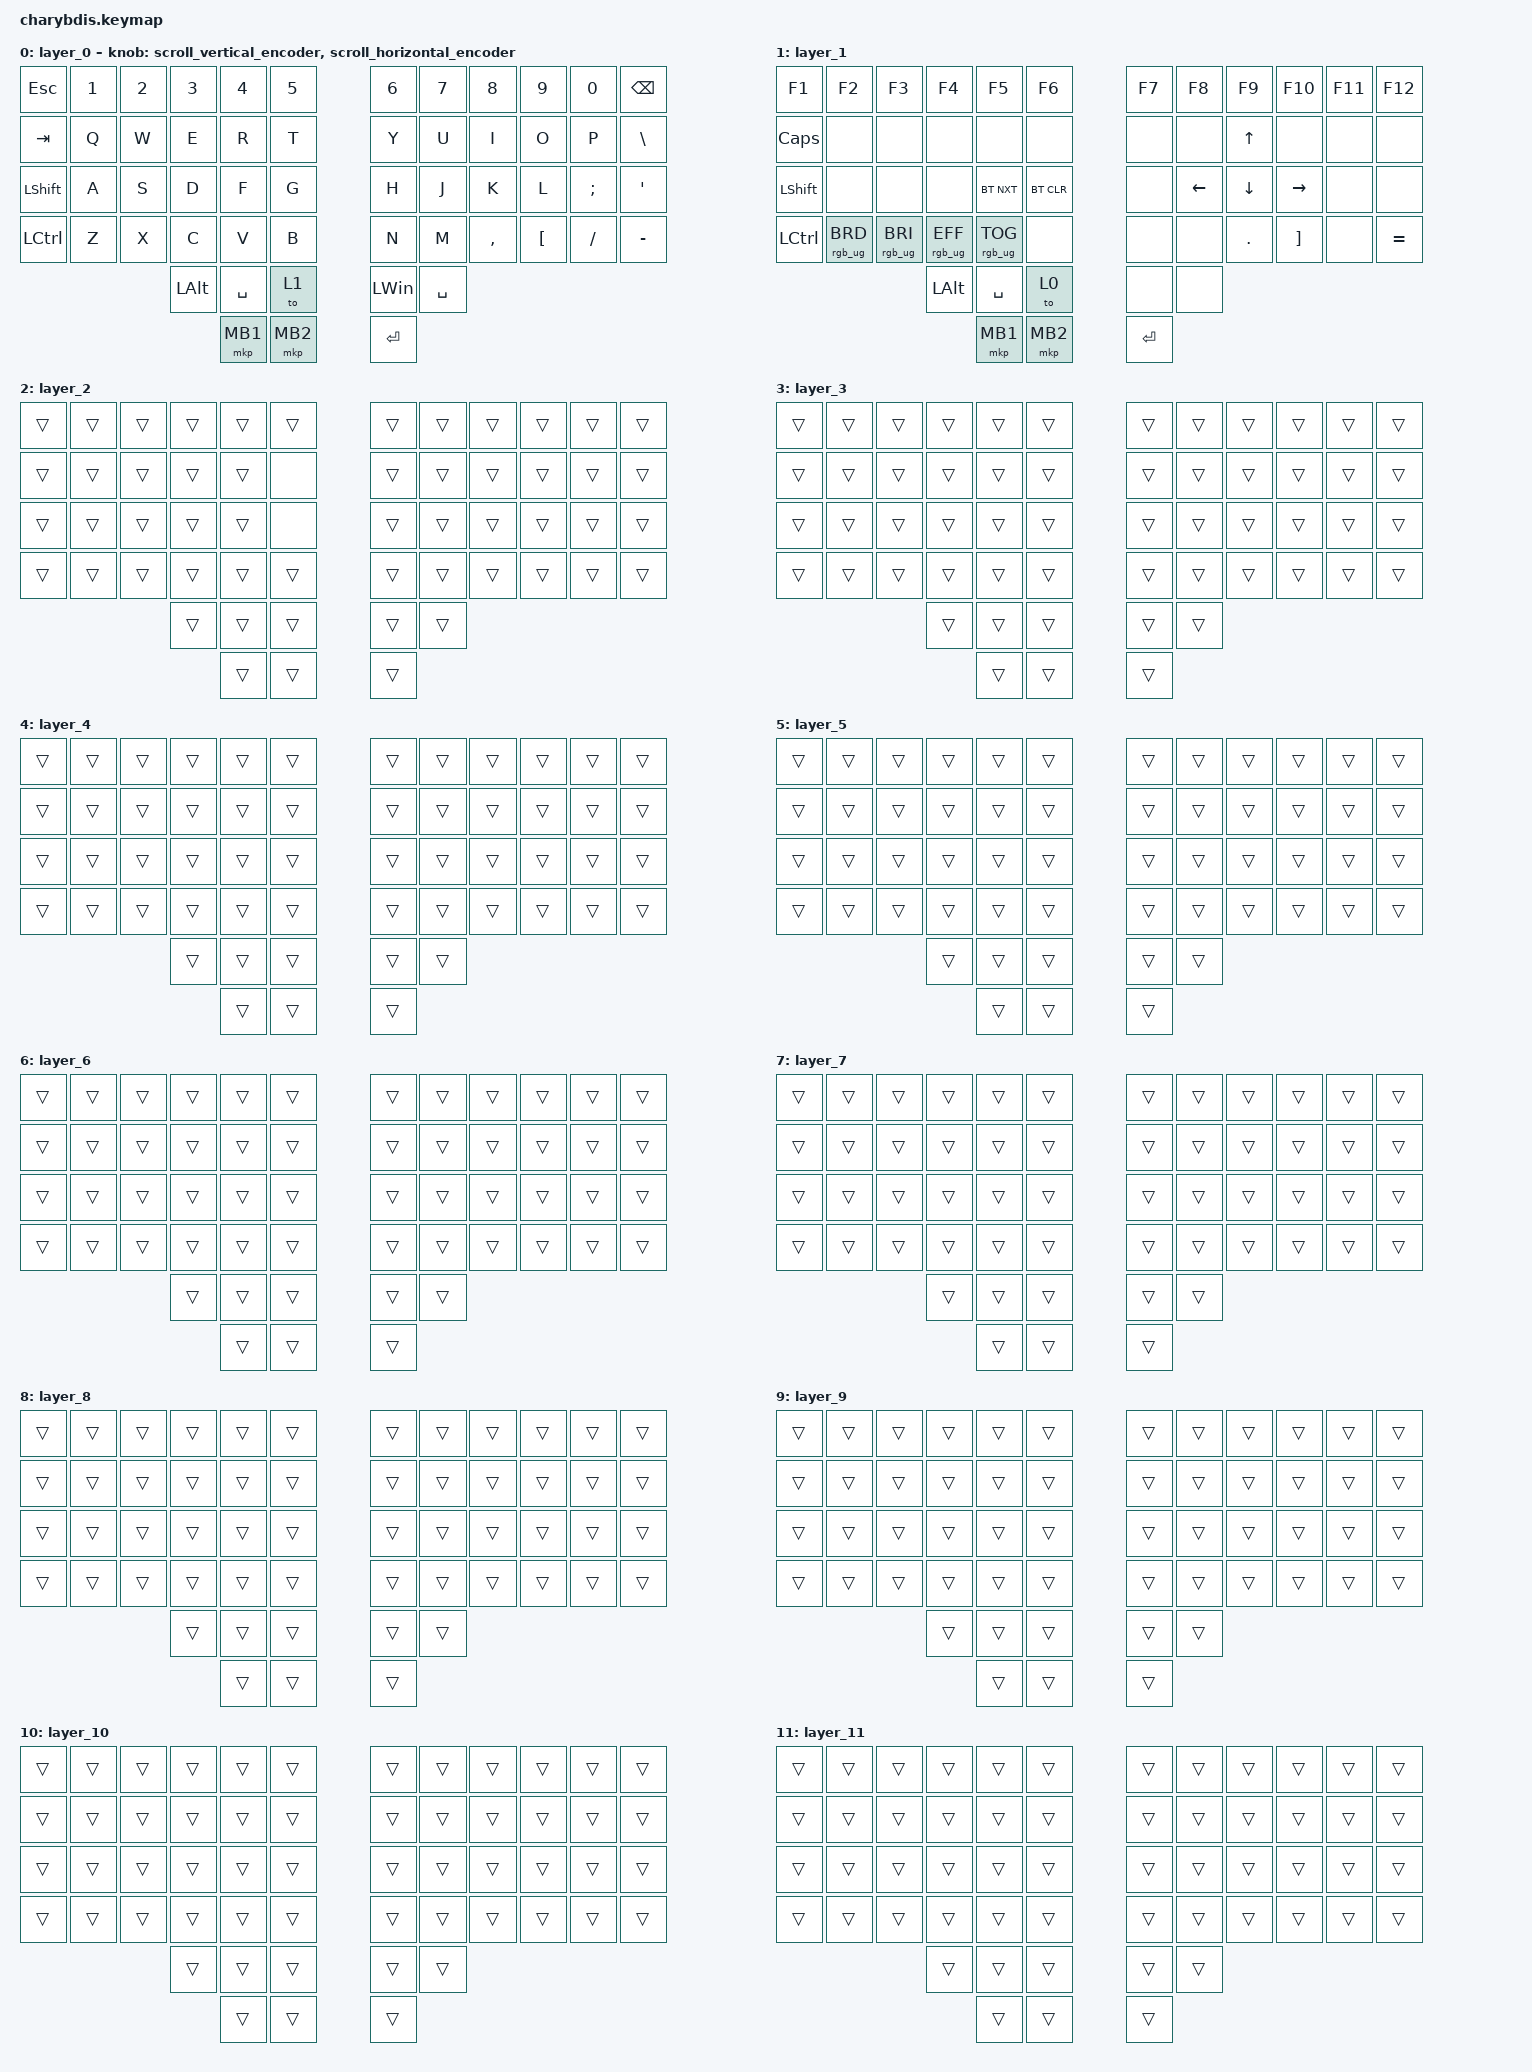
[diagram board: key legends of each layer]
#include <dt-bindings/zmk/mouse.h>
#include <input/processors.dtsi>
#include <zephyr/dt-bindings/input/input-event-codes.h>
#include <behaviors.dtsi>
#include <dt-bindings/zmk/bt.h>
#include <dt-bindings/zmk/keys.h>
#include <dt-bindings/zmk/pointing.h>
#include <dt-bindings/zmk/rgb.h>

#define ZMK_POINTING_DEFAULT_MOVE_VAL 1000 // 600
#define ZMK_POINTING_DEFAULT_SCRL_VAL 12   // 10

&lt {
    tapping-term-ms = <200>;
    flavor = "balanced";
    quick-tap-ms = <150>;
};

/ {
    jump_accel: jump_accel {
        compatible = "zmk,input-processor-jump-accel";
        #input-processor-cells = <0>;
        base-factor = <1000>;
        fast-factor = <4000>;
        jump-start-cps = <1700>;
        jump-width-cps = <1400>;
        // Slightly earlier medium ramp; 4x ceiling for long fast strokes.
        curve-type = "smootherstep";
        track-remainders;
    };

    // Deliberately extreme scroll curve: keep precision motion slow, then make
    // fast sweeps unmistakable. The scroller applies this before wheel mapping;
    // its downstream 3/20 scaler still limits low-speed output.
    scroll_accel: scroll_accel {
        compatible = "zmk,input-processor-jump-accel";
        #input-processor-cells = <0>;
        base-factor = <100>;
        fast-factor = <16000>;
        jump-start-cps = <250>;
        jump-width-cps = <1750>;
        curve-type = "exponential";
        track-remainders;
    };
};

// Pointer speed modes are KEY behaviors, never layer-linked CPI switching.
// The old PMW3610 snipe-layers mechanism (8x CPI jump while a layer was held)
// was removed together with the inorichi/DoctorWangWang driver.
//
// All modes run through zip_ball_mode (gggw zmk-input-processor-pipeline-
// switch), wired onto &trackball_listener in charybdis_right.overlay (which
// exists on the right/central half only, so these keys only have an effect
// when placed on right-half positions). The macros below select a pipeline
// deterministically; the hold variants press a mode and restore cursor on
// release (same macro pattern as the coach layer holds). persist=0 for the
// hold transitions (no flash writes), persist=1 for the explicit set keys.
// Behavior node names must stay <= 8 chars (split relay truncation).
//
// Pointer mode and tuning controls are intentionally not bound in firmware.
// ZMK Studio can assign them temporarily; tuning macros are experimental.

/ {
    zip_ball_mode: zip_ball_mode {
        compatible = "zmk,input-processor-pipeline-switch";
        #input-processor-cells = <0>;
        // Start in normal cursor mode on every boot. Persisting Snipe Mode
        // can leave the pointer at 0.25x after its Studio binding moves away.

        cursor { // index 0: identity
            input-processors = <&zip_xy_scaler 1 1>;
        };
        snipe { // index 1: 0.25x precision
            input-processors = <&zip_xy_scaler 1 4>;
        };
        fast { // index 2: 3x boost
            input-processors = <&zip_xy_scaler 3 1>;
        };
    };

    bmode: bmode {
        compatible = "zmk,behavior-pipeline-switch";
        #binding-cells = <2>;
        processor = <&zip_ball_mode>;
        display-name = "Ball Mode";
    };

    // Temporary ZMK Studio controls for live, volatile acceleration tuning.
    // Assign during a test session; values reset to these DT defaults on boot.
    btune: btune {
        compatible = "zmk,behavior-trackball-tune";
        #binding-cells = <1>;
        processor = <&jump_accel>;
        display-name = "Trackball Tune";
    };

#define TRACKBALL_TUNE_MACRO(node, label, action)                                                  \
    node: node {                                                                                   \
        compatible = "zmk,behavior-macro";                                                        \
        display-name = label;                                                                      \
        #binding-cells = <0>;                                                                      \
        wait-ms = <5>;                                                                             \
        tap-ms = <5>;                                                                              \
        bindings = <&macro_tap &btune action>;                                                     \
    };

    TRACKBALL_TUNE_MACRO(tb_bdn, "Trackball base −0.1x", 0)
    TRACKBALL_TUNE_MACRO(tb_bup, "Trackball base +0.1x", 1)
    TRACKBALL_TUNE_MACRO(tb_fdn, "Trackball fast −0.1x", 2)
    TRACKBALL_TUNE_MACRO(tb_fup, "Trackball fast +0.1x", 3)
    TRACKBALL_TUNE_MACRO(tb_sdn, "Trackball ramp start −100", 4)
    TRACKBALL_TUNE_MACRO(tb_sup, "Trackball ramp start +100", 5)
    TRACKBALL_TUNE_MACRO(tb_wdn, "Trackball ramp width −100", 6)
    TRACKBALL_TUNE_MACRO(tb_wup, "Trackball ramp width +100", 7)
    TRACKBALL_TUNE_MACRO(tb_vdn, "Trackball window −4ms", 8)
    TRACKBALL_TUNE_MACRO(tb_vup, "Trackball window +4ms", 9)
    TRACKBALL_TUNE_MACRO(tb_pdn, "Trackball speed filter −4ms", 10)
    TRACKBALL_TUNE_MACRO(tb_pup, "Trackball speed filter +4ms", 11)
    TRACKBALL_TUNE_MACRO(tb_gdn, "Trackball gain filter −4ms", 12)
    TRACKBALL_TUNE_MACRO(tb_gup, "Trackball gain filter +4ms", 13)
    TRACKBALL_TUNE_MACRO(tb_dwn, "Trackball travel window −8ms", 14)
    TRACKBALL_TUNE_MACRO(tb_dup, "Trackball travel window +8ms", 15)
    TRACKBALL_TUNE_MACRO(tb_mdn, "Trackball travel start −16", 16)
    TRACKBALL_TUNE_MACRO(tb_mup, "Trackball travel start +16", 17)
    TRACKBALL_TUNE_MACRO(tb_mwd, "Trackball travel ramp −16", 18)
    TRACKBALL_TUNE_MACRO(tb_mwu, "Trackball travel ramp +16", 19)
    TRACKBALL_TUNE_MACRO(tb_rst, "Trackball reset tuning", 20)

#undef TRACKBALL_TUNE_MACRO

    snp_hold: snp_hold {
        compatible = "zmk,behavior-macro";
        display-name = "Snipe Hold";
        #binding-cells = <0>;
        wait-ms = <5>;
        tap-ms = <5>;
        bindings =
            <&macro_press &bmode 1 0>,
            <&macro_pause_for_release>,
            <&macro_tap &bmode 0 0>;
    };

    fst_hold: fst_hold {
        compatible = "zmk,behavior-macro";
        display-name = "Fast Hold";
        #binding-cells = <0>;
        wait-ms = <5>;
        tap-ms = <5>;
        bindings =
            <&macro_press &bmode 2 0>,
            <&macro_pause_for_release>,
            <&macro_tap &bmode 0 0>;
    };

    snp_tog: snp_tog {
        compatible = "zmk,behavior-macro";
        display-name = "Snipe Mode";
        #binding-cells = <0>;
        wait-ms = <5>;
        tap-ms = <5>;
        bindings = <&macro_tap &bmode 1 0>;
    };

    nrm_tog: nrm_tog {
        compatible = "zmk,behavior-macro";
        display-name = "Normal Mode";
        #binding-cells = <0>;
        wait-ms = <5>;
        tap-ms = <5>;
        bindings = <&macro_tap &bmode 0 0>;
    };

    fst_tog: fst_tog {
        compatible = "zmk,behavior-macro";
        display-name = "Fast Mode";
        #binding-cells = <0>;
        wait-ms = <5>;
        tap-ms = <5>;
        bindings = <&macro_tap &bmode 2 0>;
    };
};

// zip_xy_scaler here only affects the (currently unused) &mmv "move mouse via
// key hold" virtual behavior below -- unrelated to the physical trackball.
&mmv_input_listener { input-processors = <&zip_xy_scaler 1 5>; };

&msc_input_listener { input-processors = <&zip_scroll_scaler 2 1>; };

&msc {
    acceleration-exponent = <0>;      // 0
    time-to-max-speed-ms = <100>;       // 300
    delay-ms = <0>;                   // 0
};

&mmv {
    time-to-max-speed-ms = <500>;
    acceleration-exponent = <1>;
    trigger-period-ms = <16>;
};

/ {
    #include "coach_beacon_macros.keymap.dtsi"

    // 上下滚动编码器行为

    scroll_vertical_encoder: scroll_vertical_encoder {
        compatible = "zmk,behavior-sensor-rotate";
        #sensor-binding-cells = <0>;
        bindings = <&msc SCRL_DOWN>, <&msc SCRL_UP>;

        tap-ms = <100>;
    };

    // 左右滚动编码器行为

    scroll_horizontal_encoder: scroll_horizontal_encoder {
        compatible = "zmk,behavior-sensor-rotate";
        #sensor-binding-cells = <0>;
        bindings = <&msc SCRL_LEFT>, <&msc SCRL_RIGHT>;

        tap-ms = <100>;
    };

    behaviors {
    };

    macros {
        To1_macro: To1_macro {
            compatible = "zmk,behavior-macro";
            label = "To1_macro";
            #binding-cells = <0>;
            bindings = <&rgb_ug RGB_EFF &rgb_ug RGB_COLOR_HSB(128,100,50) &to 1>;
        };

        To1_macro_A: To1_macro_A {
            compatible = "zmk,behavior-macro";
            label = "To1_macro_A";
            #binding-cells = <0>;
            bindings = <&rgb_ug RGB_COLOR_HSB(128,100,50) &to 1>;
        };

        To0_macro: To0_macro {
            compatible = "zmk,behavior-macro";
            label = "To0_macro";
            #binding-cells = <0>;
            bindings = <&rgb_ug RGB_EFR &to 0>;
        };

        To2_macro_A: To2_macro_A {
            compatible = "zmk,behavior-macro";
            label = "To2_macro_A";
            #binding-cells = <0>;
            bindings = <&rgb_ug RGB_COLOR_HSB(250,100,50) &to 2>;
        };

        To2_macro: To2_macro {
            compatible = "zmk,behavior-macro";
            label = "To2_macro";
            #binding-cells = <0>;
            bindings = <&rgb_ug RGB_EFF &rgb_ug RGB_COLOR_HSB(250,100,50) &to 2>;
        };
    };

    keymap {
        compatible = "zmk,keymap";

        layer_0 {
            bindings = <
&kp ESC         &kp N1  &kp N2  &kp N3        &kp N4     &kp N5      &kp N6     &kp N7     &kp N8     &kp N9            &kp N0    &kp BACKSPACE
&kp TAB         &kp Q   &kp W   &kp E         &kp R      &kp T       &kp Y      &kp U      &kp I      &kp O             &kp P     &kp BSLH
&kp LEFT_SHIFT  &kp A   &kp S   &kp D         &kp F      &kp G       &kp H      &kp J      &kp K      &kp L             &kp SEMI  &kp SQT
&kp LCTRL       &kp Z   &kp X   &kp C         &kp V      &kp B       &kp N      &kp M      &kp COMMA  &kp LEFT_BRACKET  &kp FSLH  &kp MINUS
                                &kp LEFT_ALT  &kp SPACE  &to 1       &kp LWIN   &kp SPACE
                                              &mkp MB1   &mkp MB2    &kp ENTER
            >;

            sensor-bindings =
                <&scroll_vertical_encoder>,
                // 编码器1：上下滚动,,
                <&scroll_horizontal_encoder>;

            // 编码器2：左右滚动
        };

        layer_1 {
            bindings = <
&kp F1          &kp F2           &kp F3           &kp F4           &kp F5           &kp F6        &kp F7     &kp F8    &kp F9      &kp F10            &kp F11  &kp F12
&kp CAPS        &none            &none            &none            &none            &none         &none      &none     &kp UP      &none              &none    &none
&kp LEFT_SHIFT  &none            &none            &none            &bt BT_NXT       &bt BT_CLR    &none      &kp LEFT  &kp DOWN    &kp RIGHT          &none    &none
&kp LCTRL       &rgb_ug RGB_BRD  &rgb_ug RGB_BRI  &rgb_ug RGB_EFF  &rgb_ug RGB_TOG  &none         &none      &none     &kp PERIOD  &kp RIGHT_BRACKET  &none    &kp EQUAL
                                                  &kp LEFT_ALT     &kp SPACE        &to 0         &none      &none
                                                                   &mkp MB1         &mkp MB2      &kp ENTER
            >;
        };

        layer_2 {
            bindings = <
&trans  &trans  &trans  &trans  &trans  &trans    &trans  &trans  &trans  &trans  &trans  &trans
&trans  &trans  &trans  &trans  &trans  &none     &trans  &trans  &trans  &trans  &trans  &trans
&trans  &trans  &trans  &trans  &trans  &none     &trans  &trans  &trans  &trans  &trans  &trans
&trans  &trans  &trans  &trans  &trans  &trans    &trans  &trans  &trans  &trans  &trans  &trans
                        &trans  &trans  &trans    &trans  &trans
                                &trans  &trans    &trans
            >;
        };

        layer_3 {
            bindings = <
&trans  &trans  &trans  &trans  &trans  &trans    &trans  &trans  &trans  &trans  &trans  &trans
&trans  &trans  &trans  &trans  &trans  &trans    &trans  &trans  &trans  &trans  &trans  &trans
&trans  &trans  &trans  &trans  &trans  &trans    &trans  &trans  &trans  &trans  &trans  &trans
&trans  &trans  &trans  &trans  &trans  &trans    &trans  &trans  &trans  &trans  &trans  &trans
                        &trans  &trans  &trans    &trans  &trans
                                &trans  &trans    &trans
            >;
        };

        layer_4 {
            bindings = <
&trans  &trans  &trans  &trans  &trans  &trans    &trans  &trans  &trans  &trans  &trans  &trans
&trans  &trans  &trans  &trans  &trans  &trans    &trans  &trans  &trans  &trans  &trans  &trans
&trans  &trans  &trans  &trans  &trans  &trans    &trans  &trans  &trans  &trans  &trans  &trans
&trans  &trans  &trans  &trans  &trans  &trans    &trans  &trans  &trans  &trans  &trans  &trans
                        &trans  &trans  &trans    &trans  &trans
                                &trans  &trans    &trans
            >;
        };

        layer_5 {
            bindings = <
&trans  &trans  &trans  &trans  &trans  &trans    &trans  &trans  &trans  &trans  &trans  &trans
&trans  &trans  &trans  &trans  &trans  &trans    &trans  &trans  &trans  &trans  &trans  &trans
&trans  &trans  &trans  &trans  &trans  &trans    &trans  &trans  &trans  &trans  &trans  &trans
&trans  &trans  &trans  &trans  &trans  &trans    &trans  &trans  &trans  &trans  &trans  &trans
                        &trans  &trans  &trans    &trans  &trans
                                &trans  &trans    &trans
            >;
        };

        layer_6 {
            bindings = <
&trans  &trans  &trans  &trans  &trans  &trans    &trans  &trans  &trans  &trans  &trans  &trans
&trans  &trans  &trans  &trans  &trans  &trans    &trans  &trans  &trans  &trans  &trans  &trans
&trans  &trans  &trans  &trans  &trans  &trans    &trans  &trans  &trans  &trans  &trans  &trans
&trans  &trans  &trans  &trans  &trans  &trans    &trans  &trans  &trans  &trans  &trans  &trans
                        &trans  &trans  &trans    &trans  &trans
                                &trans  &trans    &trans
            >;
        };

        layer_7 {
            bindings = <
&trans  &trans  &trans  &trans  &trans  &trans    &trans  &trans  &trans  &trans  &trans  &trans
&trans  &trans  &trans  &trans  &trans  &trans    &trans  &trans  &trans  &trans  &trans  &trans
&trans  &trans  &trans  &trans  &trans  &trans    &trans  &trans  &trans  &trans  &trans  &trans
&trans  &trans  &trans  &trans  &trans  &trans    &trans  &trans  &trans  &trans  &trans  &trans
                        &trans  &trans  &trans    &trans  &trans
                                &trans  &trans    &trans
            >;
        };

        layer_8 {
            bindings = <
&trans  &trans  &trans  &trans  &trans  &trans    &trans  &trans  &trans  &trans  &trans  &trans
&trans  &trans  &trans  &trans  &trans  &trans    &trans  &trans  &trans  &trans  &trans  &trans
&trans  &trans  &trans  &trans  &trans  &trans    &trans  &trans  &trans  &trans  &trans  &trans
&trans  &trans  &trans  &trans  &trans  &trans    &trans  &trans  &trans  &trans  &trans  &trans
                        &trans  &trans  &trans    &trans  &trans
                                &trans  &trans    &trans
            >;
        };

        layer_9 {
            bindings = <
&trans  &trans  &trans  &trans  &trans  &trans    &trans  &trans  &trans  &trans  &trans  &trans
&trans  &trans  &trans  &trans  &trans  &trans    &trans  &trans  &trans  &trans  &trans  &trans
&trans  &trans  &trans  &trans  &trans  &trans    &trans  &trans  &trans  &trans  &trans  &trans
&trans  &trans  &trans  &trans  &trans  &trans    &trans  &trans  &trans  &trans  &trans  &trans
                        &trans  &trans  &trans    &trans  &trans
                                &trans  &trans    &trans
            >;
        };

        layer_10 {
            bindings = <
&trans  &trans  &trans  &trans  &trans  &trans    &trans  &trans  &trans  &trans  &trans  &trans
&trans  &trans  &trans  &trans  &trans  &trans    &trans  &trans  &trans  &trans  &trans  &trans
&trans  &trans  &trans  &trans  &trans  &trans    &trans  &trans  &trans  &trans  &trans  &trans
&trans  &trans  &trans  &trans  &trans  &trans    &trans  &trans  &trans  &trans  &trans  &trans
                        &trans  &trans  &trans    &trans  &trans
                                &trans  &trans    &trans
            >;
        };

        // L11: dedicated scroll mode layer — all transparent.
        // A layer-11-scoped child of trackball_listener in charybdis_right.overlay
        // converts ball motion to scroll whenever this layer is active. Every
        // @scroll:LX:hold key exports as &mo 11, which stacks L11 on top of the
        // current layer without displacing it (L11 is fully transparent so LX
        // bindings remain visible).
        layer_11 {
            bindings = <
&trans  &trans  &trans  &trans  &trans  &trans    &trans  &trans  &trans  &trans  &trans  &trans
&trans  &trans  &trans  &trans  &trans  &trans    &trans  &trans  &trans  &trans  &trans  &trans
&trans  &trans  &trans  &trans  &trans  &trans    &trans  &trans  &trans  &trans  &trans  &trans
&trans  &trans  &trans  &trans  &trans  &trans    &trans  &trans  &trans  &trans  &trans  &trans
                        &trans  &trans  &trans    &trans  &trans
                                &trans  &trans    &trans
            >;
        };

    };
};
